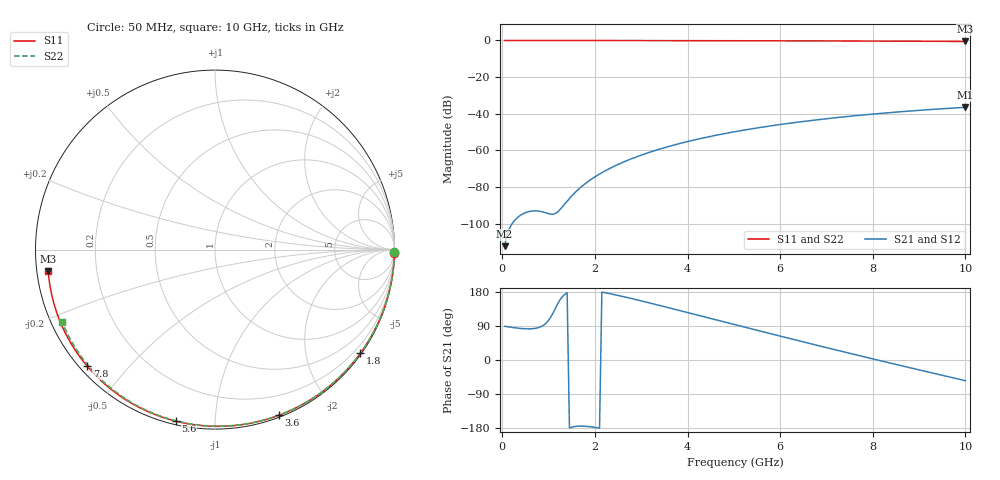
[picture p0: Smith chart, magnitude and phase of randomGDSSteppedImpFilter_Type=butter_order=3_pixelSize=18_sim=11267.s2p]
! freq	dB(S11)	phase(S11)	dB(S12)	phase(S12)
!  dB(S21)	phase(S21)	dB(S22)	phase(S22)
!S-par simulation data
#  GHz  S  DB  R 50
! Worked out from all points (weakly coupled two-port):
!   200 points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, 50 MHz to 10 GHz, reference 50 ohm
!   highest |S21| = -36.50 dB at 10 GHz (marker M1); lowest = -112.3 dB at 50 MHz (marker M2)
!   lowest |S11| = -0.6 dB at 10 GHz (marker M3), VSWR 30.72, Z = 1.63 - j3.19 ohm
!   |S11| at or under -10 dB: nowhere
!   |S22| runs from -0.5 to 0.0 dB; largest |S21 - S12| = 0
!   S11 on the Smith chart (normalised r, x): 50 MHz: open; 1.8 GHz: 0.03, -3.13; 3.6 GHz: 0.02, -1.46; 5.6 GHz: 0.02, -0.80; 7.8 GHz: 0.02, -0.39; 10 GHz: 0.03, -0.06
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0.05  -0.00 -1.0  -112.28 89.0  -112.28 89.0  -0.00 -0.9
0.45  -0.01 -9.0  -94.58 82.7  -94.58 82.7  -0.01 -8.0
0.85  -0.02 -17.0  -93.43 88.9  -93.43 88.9  -0.02 -15.1
1.25  -0.03 -24.8  -92.21 159.4  -92.21 159.4  -0.03 -22.1
1.7  -0.04 -33.5  -80.01 -174.4  -80.01 -174.4  -0.04 -29.9
1.75  -0.04 -34.5  -78.97 -174.6  -78.97 -174.6  -0.04 -30.8
1.8  -0.05 -35.5  -77.99 -174.9  -77.99 -174.9  -0.04 -31.7
2.1  -0.05 -41.2  -72.91 -179.7  -72.91 -179.7  -0.05 -36.8
2.3  -0.06 -45.0  -70.12 175.6  -70.12 175.6  -0.05 -40.2
2.5  -0.06 -48.8  -67.67 170.4  -67.67 170.4  -0.06 -43.6
2.9  -0.07 -56.2  -63.50 159.0  -63.50 159.0  -0.07 -50.2
3.4  -0.09 -65.3  -59.28 143.9  -59.28 143.9  -0.08 -58.4
3.6  -0.09 -68.8  -57.81 137.7  -57.81 137.7  -0.08 -61.7
4.3  -0.12 -81.1  -53.42 115.9  -53.42 115.9  -0.10 -72.8
5.05  -0.14 -93.8  -49.67 92.4  -49.67 92.4  -0.13 -84.3
5.6  -0.17 -102.9  -47.36 75.4  -47.36 75.4  -0.15 -92.5
6.15  -0.20 -111.7  -45.36 58.4  -45.36 58.4  -0.18 -100.5
6.7  -0.23 -120.5  -43.60 41.7  -43.60 41.7  -0.21 -108.4
7.8  -0.32 -137.7  -40.66 8.8  -40.66 8.8  -0.29 -123.9
8.35  -0.37 -146.3  -39.42 -7.3  -39.42 -7.3  -0.34 -131.5
9.2  -0.46 -159.7  -37.78 -31.9  -37.78 -31.9  -0.42 -143.4
10  -0.57 -172.7  -36.50 -54.6  -36.50 -54.6  -0.52 -154.6
